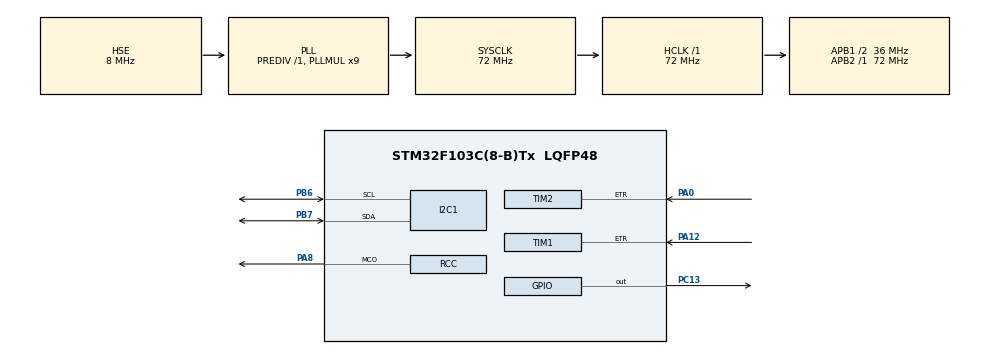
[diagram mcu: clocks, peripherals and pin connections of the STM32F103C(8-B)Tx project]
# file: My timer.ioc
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I2C1.I2C_Mode=I2C_Fast
Mcu.Family=STM32F1
Mcu.Name=STM32F103C(8-B)Tx
Mcu.Package=LQFP48
NVIC.PriorityGroup=NVIC_PRIORITYGROUP_4
NVIC.TIM1_UP_IRQn=true\:0\:0\:false\:false\:true\:true\:true
NVIC.TIM2_IRQn=true\:0\:0\:false\:false\:true\:true\:true
NVIC.TIM3_IRQn=true\:0\:0\:false\:false\:true\:true\:true
PA0-WKUP.Signal=S_TIM2_CH1_ETR
PA12.Signal=S_TIM1_ETR
PA13.Mode=Trace_Asynchronous_SW
PA13.Signal=SYS_JTMS-SWDIO
PA14.Mode=Trace_Asynchronous_SW
PA14.Signal=SYS_JTCK-SWCLK
PA8.Mode=Clock-out
PA8.Signal=RCC_MCO
PB3.Mode=Trace_Asynchronous_SW
PB3.Signal=SYS_JTDO-TRACESWO
PB6.Mode=I2C
PB6.Signal=I2C1_SCL
PB7.Mode=I2C
PB7.Signal=I2C1_SDA
PC13-TAMPER-RTC.Signal=GPIO_Output
PD0-OSC_IN.Mode=HSE-External-Oscillator
PD0-OSC_IN.Signal=RCC_OSC_IN
PD1-OSC_OUT.Mode=HSE-External-Oscillator
PD1-OSC_OUT.Signal=RCC_OSC_OUT
ProjectManager.HeapSize=0x200
ProjectManager.StackSize=0x400
ProjectManager.TargetToolchain=STM32CubeIDE
RCC.AHBFreq_Value=72000000
RCC.APB1CLKDivider=RCC_HCLK_DIV2
RCC.APB1Freq_Value=36000000
RCC.APB1TimFreq_Value=72000000
RCC.APB2Freq_Value=72000000
RCC.APB2TimFreq_Value=72000000
RCC.HCLKFreq_Value=72000000
RCC.PLLMUL=RCC_PLL_MUL9
RCC.PLLSourceVirtual=RCC_PLLSOURCE_HSE
RCC.RCC_MCOSource=RCC_MCO1SOURCE_PLLCLK
RCC.SYSCLKFreq_VALUE=72000000
RCC.SYSCLKSource=RCC_SYSCLKSOURCE_PLLCLK
RCC.USBFreq_Value=72000000
SH.S_TIM1_ETR.0=TIM1_ETR,ClockSourceETR_Mode2
SH.S_TIM2_CH1_ETR.0=TIM2_ETR,ClockSourceETR_Mode2
TIM1.TIM_MasterOutputTrigger=TIM_TRGO_RESET
TIM2.TIM_MasterOutputTrigger=TIM_TRGO_RESET
TIM3.CounterMode=TIM_COUNTERMODE_UP
TIM3.Period=10000-1
TIM3.Prescaler=7200-1
TIM3.TIM_MasterOutputTrigger=TIM_TRGO_ENABLE
TIM3.TIM_MasterSlaveMode=TIM_MASTERSLAVEMODE_ENABLE
VP_TIM1_VS_ClockSourceITR.Mode=TriggerSource_ITR2
VP_TIM1_VS_ControllerModeGated.Mode=Gated Mode
VP_TIM2_VS_ClockSourceITR.Mode=TriggerSource_ITR2
VP_TIM2_VS_ControllerModeGated.Mode=Gated Mode
VP_TIM3_VS_ClockSourceINT.Mode=Internal
VP_TIM3_VS_OPM.Mode=OPM_bit
VP_TIM4_VS_ClockSourceITR.Mode=TriggerSource_ITR2
board=custom

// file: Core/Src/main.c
/* USER CODE BEGIN Header */
/**
 ******************************************************************************
 * @file           : main.c
 * @brief          : Main program body
 ******************************************************************************
 * @attention
 *
 * <h2><center>&copy; Copyright (c) 2021 STMicroelectronics.
 * All rights reserved.</center></h2>
 *
 * This software component is licensed by ST under BSD 3-Clause license,
 * the "License"; You may not use this file except in compliance with the
 * License. You may obtain a copy of the License at:
 *                        opensource.org/licenses/BSD-3-Clause
 *
 ******************************************************************************
 */
/* USER CODE END Header */
#include "main.h"

/* USER CODE BEGIN Includes */
#include <stdio.h>
#include <stdbool.h>
#include "lcd1602_i2c_lib.h"

#define Adress 0x27 << 1                //Адрес устройства.
extern I2C_HandleTypeDef hi2c1;         //Шина I2C.
extern char lcd1602_tx_buffer[40]; //глобальный буфер данных. В него записывается текст.
uint8_t mu[8] = { 0x00, 0x0, 0x9, 0x9, 0x9, 0xb, 0xd, 0x10 };

extern bool flag;
uint16_t count_main = 0;
uint16_t count_over = 0;
uint32_t freq = 0;
float period = 0.0f;

uint16_t count_main2 = 0;
uint16_t count_over2 = 0;
uint32_t freq2 = 0;
float period2 = 0.0f;
/* USER CODE END Includes */

I2C_HandleTypeDef hi2c1;

TIM_HandleTypeDef htim1;
TIM_HandleTypeDef htim2;
TIM_HandleTypeDef htim3;
TIM_HandleTypeDef htim4;

void SystemClock_Config(void);
static void MX_GPIO_Init(void);
static void MX_I2C1_Init(void);
static void MX_TIM2_Init(void);
static void MX_TIM3_Init(void);
static void MX_TIM1_Init(void);
static void MX_TIM4_Init(void);

int main(void) {

	/* MCU Configuration--------------------------------------------------------*/

	/* Reset of all peripherals, Initializes the Flash interface and the Systick. */
	HAL_Init();

	/* Configure the system clock */
	SystemClock_Config();

	/* Initialize all configured peripherals */
	MX_GPIO_Init();
	MX_I2C1_Init();
	MX_TIM2_Init();
	MX_TIM3_Init();
	MX_TIM1_Init();
	MX_TIM4_Init();
	/* USER CODE BEGIN 2 */

	HAL_Delay(100);
	lcd1602_Init();
	lcd1602_Create_symbol(mu, 1);

//Когда вы инициализируете таймер и записываете значения в Prescaler и в Repetition counter,
//то они применяются не сразу, а только после того как таймер отработает цикл и произойдёт Update event.
//Если мы запускаем таймер в режиме прерываний — HAL_TIM_Base_Start_IT(&htim1),
//происходит следующее: поскольку прерывания вызываются событиями, то у нас тут же произойдёт прерывание от таймера
//так как событие мы уже сгенерировали принудительно, и оно только и ждало, когда же запустится таймер, чтоб сообщить ему
//что нужно сделать прерывание. Таким образом получается, что первое прерывание от таймера произойдёт не через указанный
//нами период, а сразу после старта системы. В каких-то случаях, как простое мигание светодиодом, это не критично,
//а в каких-то это может оказаться неприемлемым.

//исправить эту ситуацию очень просто, надо всего лишь очистить флаг перед запуском таймера:
	__HAL_TIM_CLEAR_FLAG(&htim1, TIM_SR_UIF);
	__HAL_TIM_CLEAR_FLAG(&htim2, TIM_SR_UIF);
	__HAL_TIM_CLEAR_FLAG(&htim3, TIM_SR_UIF);
	HAL_TIM_Base_Start_IT(&htim1);
	HAL_TIM_Base_Start_IT(&htim2);
	HAL_TIM_Base_Start_IT(&htim3);

	/* USER CODE END 2 */

	/* Infinite loop */
	while (1) {

		/* USER CODE BEGIN 3 */
		if (flag) {
			flag = 0;
			period = 1000000 / (float) freq;

			if (period <= 1) {
				sprintf(lcd1602_tx_buffer, "period:%10.3f ns", period * 1000);
				lcd1602_SetCursor(0, 0);
				lcd1602_Print_text(lcd1602_tx_buffer);
			} else if (period >= 1) {
				sprintf(lcd1602_tx_buffer, "period:%10.3f %cs", period, 0x01);
				lcd1602_SetCursor(0, 0);
				lcd1602_Print_text(lcd1602_tx_buffer);
			}

			if (freq <= 1000) {
				sprintf(lcd1602_tx_buffer, "freq:%12.3f Hz", (float) freq);
				lcd1602_SetCursor(0, 1);
				lcd1602_Print_text(lcd1602_tx_buffer);
			} else if (freq > 1000 && freq < 1000000) {
				sprintf(lcd1602_tx_buffer, "freq:%11.3f kHz", (float) freq / 1000);
				lcd1602_SetCursor(0, 1);
				lcd1602_Print_text(lcd1602_tx_buffer);
			} else if (freq >= 1000000) {
				sprintf(lcd1602_tx_buffer, "freq:%11.3f MHz", (float) freq / 1000000);
				lcd1602_SetCursor(0, 1);
				lcd1602_Print_text(lcd1602_tx_buffer);
			}

			period2 = 1000000 / (float) freq2;

			 if (period2 <= 1) {
			 sprintf(lcd1602_tx_buffer, "period2:%9.3f ns", period2 * 1000);
			 lcd1602_SetCursor(0, 2);
			 lcd1602_Print_text(lcd1602_tx_buffer);
			 } else if (period2 >= 1) {
			 sprintf(lcd1602_tx_buffer, "period2:%9.3f %cs", period2, 0x01);
			 lcd1602_SetCursor(0, 2);
			 lcd1602_Print_text(lcd1602_tx_buffer);
			 }

			 if (freq2 <= 1000) {
			 sprintf(lcd1602_tx_buffer, "freq2:%11.3f Hz", (float) freq2);
			 lcd1602_SetCursor(0, 3);
			 lcd1602_Print_text(lcd1602_tx_buffer);
			 } else if (freq2 > 1000 && freq2 < 1000000) {
			 sprintf(lcd1602_tx_buffer, "freq2:%10.3f kHz", (float) freq2 / 1000);
			 lcd1602_SetCursor(0, 3);
			 lcd1602_Print_text(lcd1602_tx_buffer);
			 } else if (freq2 >= 1000000) {
			 sprintf(lcd1602_tx_buffer, "freq2:%10.3f MHz", (float) freq2 / 1000000);
			 lcd1602_SetCursor(0, 3);
			 lcd1602_Print_text(lcd1602_tx_buffer);
			 }

			//Тест вращающегося тела :)
			/*uint16_t RPM = freq * 60 / 2;
			sprintf(lcd1602_tx_buffer, "Speed Fan = %d RPM", RPM);
			lcd1602_SetCursor(0, 2);
			lcd1602_Print_text(lcd1602_tx_buffer);*/

		}
	}
	/* USER CODE END 3 */
}

void SystemClock_Config(void) {
	RCC_OscInitTypeDef RCC_OscInitStruct = { 0 };
	RCC_ClkInitTypeDef RCC_ClkInitStruct = { 0 };

	/** Initializes the RCC Oscillators according to the specified parameters
	 * in the RCC_OscInitTypeDef structure.
	 */
	RCC_OscInitStruct.OscillatorType = RCC_OSCILLATORTYPE_HSE;
	RCC_OscInitStruct.HSEState = RCC_HSE_ON;
	RCC_OscInitStruct.HSEPredivValue = RCC_HSE_PREDIV_DIV1;
	RCC_OscInitStruct.HSIState = RCC_HSI_ON;
	RCC_OscInitStruct.PLL.PLLState = RCC_PLL_ON;
	RCC_OscInitStruct.PLL.PLLSource = RCC_PLLSOURCE_HSE;
	RCC_OscInitStruct.PLL.PLLMUL = RCC_PLL_MUL9;
	if (HAL_RCC_OscConfig(&RCC_OscInitStruct) != HAL_OK) {
		Error_Handler();
	}
	/** Initializes the CPU, AHB and APB buses clocks
	 */
	RCC_ClkInitStruct.ClockType = RCC_CLOCKTYPE_HCLK | RCC_CLOCKTYPE_SYSCLK | RCC_CLOCKTYPE_PCLK1 | RCC_CLOCKTYPE_PCLK2;
	RCC_ClkInitStruct.SYSCLKSource = RCC_SYSCLKSOURCE_PLLCLK;
	RCC_ClkInitStruct.AHBCLKDivider = RCC_SYSCLK_DIV1;
	RCC_ClkInitStruct.APB1CLKDivider = RCC_HCLK_DIV2;
	RCC_ClkInitStruct.APB2CLKDivider = RCC_HCLK_DIV1;

	if (HAL_RCC_ClockConfig(&RCC_ClkInitStruct, FLASH_LATENCY_2) != HAL_OK) {
		Error_Handler();
	}
	HAL_RCC_MCOConfig(RCC_MCO, RCC_MCO1SOURCE_PLLCLK, RCC_MCODIV_1);
}

static void MX_I2C1_Init(void) {

	hi2c1.Instance = I2C1;
	hi2c1.Init.ClockSpeed = 400000;
	hi2c1.Init.DutyCycle = I2C_DUTYCYCLE_2;
	hi2c1.Init.OwnAddress1 = 0;
	hi2c1.Init.AddressingMode = I2C_ADDRESSINGMODE_7BIT;
	hi2c1.Init.DualAddressMode = I2C_DUALADDRESS_DISABLE;
	hi2c1.Init.OwnAddress2 = 0;
	hi2c1.Init.GeneralCallMode = I2C_GENERALCALL_DISABLE;
	hi2c1.Init.NoStretchMode = I2C_NOSTRETCH_DISABLE;
	if (HAL_I2C_Init(&hi2c1) != HAL_OK) {
		Error_Handler();
	}

}

static void MX_TIM1_Init(void) {

	TIM_ClockConfigTypeDef sClockSourceConfig = { 0 };
	TIM_SlaveConfigTypeDef sSlaveConfig = { 0 };
	TIM_MasterConfigTypeDef sMasterConfig = { 0 };

	htim1.Instance = TIM1;
	htim1.Init.Prescaler = 0;
	htim1.Init.CounterMode = TIM_COUNTERMODE_UP;
	htim1.Init.Period = 65535;
	htim1.Init.ClockDivision = TIM_CLOCKDIVISION_DIV1;
	htim1.Init.RepetitionCounter = 0;
	htim1.Init.AutoReloadPreload = TIM_AUTORELOAD_PRELOAD_DISABLE;
	if (HAL_TIM_Base_Init(&htim1) != HAL_OK) {
		Error_Handler();
	}
	sClockSourceConfig.ClockSource = TIM_CLOCKSOURCE_ETRMODE2;
	sClockSourceConfig.ClockPolarity = TIM_CLOCKPOLARITY_NONINVERTED;
	sClockSourceConfig.ClockPrescaler = TIM_CLOCKPRESCALER_DIV1;
	sClockSourceConfig.ClockFilter = 0;
	if (HAL_TIM_ConfigClockSource(&htim1, &sClockSourceConfig) != HAL_OK) {
		Error_Handler();
	}
	sSlaveConfig.SlaveMode = TIM_SLAVEMODE_GATED;
	sSlaveConfig.InputTrigger = TIM_TS_ITR2;
	if (HAL_TIM_SlaveConfigSynchro(&htim1, &sSlaveConfig) != HAL_OK) {
		Error_Handler();
	}
	sMasterConfig.MasterOutputTrigger = TIM_TRGO_RESET;
	sMasterConfig.MasterSlaveMode = TIM_MASTERSLAVEMODE_DISABLE;
	if (HAL_TIMEx_MasterConfigSynchronization(&htim1, &sMasterConfig) != HAL_OK) {
		Error_Handler();
	}

}

static void MX_TIM2_Init(void) {

	TIM_ClockConfigTypeDef sClockSourceConfig = { 0 };
	TIM_SlaveConfigTypeDef sSlaveConfig = { 0 };
	TIM_MasterConfigTypeDef sMasterConfig = { 0 };

	htim2.Instance = TIM2;
	htim2.Init.Prescaler = 0;
	htim2.Init.CounterMode = TIM_COUNTERMODE_UP;
	htim2.Init.Period = 65535;
	htim2.Init.ClockDivision = TIM_CLOCKDIVISION_DIV1;
	htim2.Init.AutoReloadPreload = TIM_AUTORELOAD_PRELOAD_DISABLE;
	if (HAL_TIM_Base_Init(&htim2) != HAL_OK) {
		Error_Handler();
	}
	sClockSourceConfig.ClockSource = TIM_CLOCKSOURCE_ETRMODE2;
	sClockSourceConfig.ClockPolarity = TIM_CLOCKPOLARITY_NONINVERTED;
	sClockSourceConfig.ClockPrescaler = TIM_CLOCKPRESCALER_DIV1;
	sClockSourceConfig.ClockFilter = 0;
	if (HAL_TIM_ConfigClockSource(&htim2, &sClockSourceConfig) != HAL_OK) {
		Error_Handler();
	}
	sSlaveConfig.SlaveMode = TIM_SLAVEMODE_GATED;
	sSlaveConfig.InputTrigger = TIM_TS_ITR2;
	if (HAL_TIM_SlaveConfigSynchro(&htim2, &sSlaveConfig) != HAL_OK) {
		Error_Handler();
	}
	sMasterConfig.MasterOutputTrigger = TIM_TRGO_RESET;
	sMasterConfig.MasterSlaveMode = TIM_MASTERSLAVEMODE_DISABLE;
	if (HAL_TIMEx_MasterConfigSynchronization(&htim2, &sMasterConfig) != HAL_OK) {
		Error_Handler();
	}

}

static void MX_TIM3_Init(void) {

	TIM_ClockConfigTypeDef sClockSourceConfig = { 0 };
	TIM_MasterConfigTypeDef sMasterConfig = { 0 };

	htim3.Instance = TIM3;
	htim3.Init.Prescaler = 7200 - 1;
	htim3.Init.CounterMode = TIM_COUNTERMODE_UP;
	htim3.Init.Period = 10000 - 1;
	htim3.Init.ClockDivision = TIM_CLOCKDIVISION_DIV1;
	htim3.Init.AutoReloadPreload = TIM_AUTORELOAD_PRELOAD_DISABLE;
	if (HAL_TIM_Base_Init(&htim3) != HAL_OK) {
		Error_Handler();
	}
	sClockSourceConfig.ClockSource = TIM_CLOCKSOURCE_INTERNAL;
	if (HAL_TIM_ConfigClockSource(&htim3, &sClockSourceConfig) != HAL_OK) {
		Error_Handler();
	}
	if (HAL_TIM_OnePulse_Init(&htim3, TIM_OPMODE_SINGLE) != HAL_OK) {
		Error_Handler();
	}
	sMasterConfig.MasterOutputTrigger = TIM_TRGO_ENABLE;
	sMasterConfig.MasterSlaveMode = TIM_MASTERSLAVEMODE_ENABLE;
	if (HAL_TIMEx_MasterConfigSynchronization(&htim3, &sMasterConfig) != HAL_OK) {
		Error_Handler();
	}

}

static void MX_TIM4_Init(void) {

	TIM_SlaveConfigTypeDef sSlaveConfig = { 0 };
	TIM_MasterConfigTypeDef sMasterConfig = { 0 };

	htim4.Instance = TIM4;
	htim4.Init.Prescaler = 0;
	htim4.Init.CounterMode = TIM_COUNTERMODE_UP;
	htim4.Init.Period = 65535;
	htim4.Init.ClockDivision = TIM_CLOCKDIVISION_DIV1;
	htim4.Init.AutoReloadPreload = TIM_AUTORELOAD_PRELOAD_DISABLE;
	if (HAL_TIM_Base_Init(&htim4) != HAL_OK) {
		Error_Handler();
	}
	sSlaveConfig.SlaveMode = TIM_SLAVEMODE_DISABLE;
	sSlaveConfig.InputTrigger = TIM_TS_ITR2;
	if (HAL_TIM_SlaveConfigSynchro(&htim4, &sSlaveConfig) != HAL_OK) {
		Error_Handler();
	}
	sMasterConfig.MasterOutputTrigger = TIM_TRGO_RESET;
	sMasterConfig.MasterSlaveMode = TIM_MASTERSLAVEMODE_DISABLE;
	if (HAL_TIMEx_MasterConfigSynchronization(&htim4, &sMasterConfig) != HAL_OK) {
		Error_Handler();
	}

}

static void MX_GPIO_Init(void) {
	GPIO_InitTypeDef GPIO_InitStruct = { 0 };

	/* GPIO Ports Clock Enable */
	__HAL_RCC_GPIOC_CLK_ENABLE();
	__HAL_RCC_GPIOD_CLK_ENABLE();
	__HAL_RCC_GPIOA_CLK_ENABLE();
	__HAL_RCC_GPIOB_CLK_ENABLE();

	/*Configure GPIO pin Output Level */
	HAL_GPIO_WritePin(GPIOC, GPIO_PIN_13, GPIO_PIN_RESET);

	/*Configure GPIO pin : PC13 */
	GPIO_InitStruct.Pin = GPIO_PIN_13;
	GPIO_InitStruct.Mode = GPIO_MODE_OUTPUT_PP;
	GPIO_InitStruct.Pull = GPIO_NOPULL;
	GPIO_InitStruct.Speed = GPIO_SPEED_FREQ_LOW;
	HAL_GPIO_Init(GPIOC, &GPIO_InitStruct);

	/*Configure GPIO pin : PA8 */
	GPIO_InitStruct.Pin = GPIO_PIN_8;
	GPIO_InitStruct.Mode = GPIO_MODE_AF_PP;
	GPIO_InitStruct.Speed = GPIO_SPEED_FREQ_LOW;
	HAL_GPIO_Init(GPIOA, &GPIO_InitStruct);

}

void Error_Handler(void) {
	__disable_irq();
	while (1) {
	}
}

/************************ (C) COPYRIGHT STMicroelectronics *****END OF FILE****/
